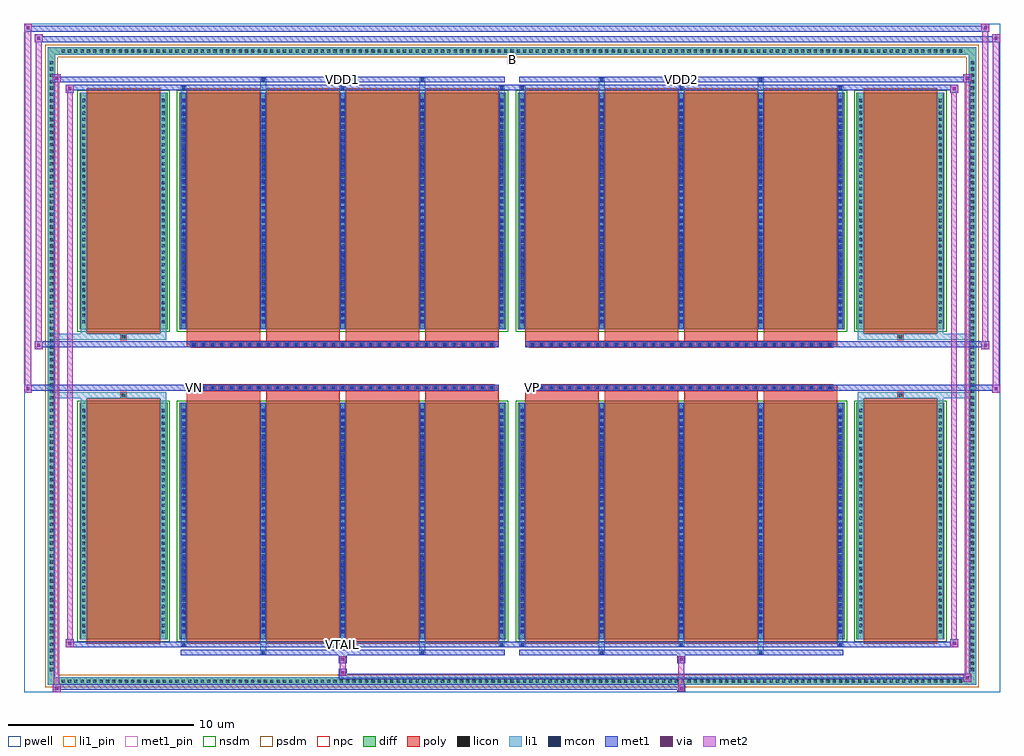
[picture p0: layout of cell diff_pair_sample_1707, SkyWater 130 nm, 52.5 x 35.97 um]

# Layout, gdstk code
import gdstk
lib = gdstk.Library(unit=1e-6, precision=5e-09)
def R(c, l, rs):  # rectangles x0, y0, x1, y1
    for r in rs: c.add(gdstk.rectangle(r[:2], r[2:], *l))
def A(c, l, x, y, w, h, nx, ny, dx, dy):  # array of equal rectangles
    R(c, l, [(x+i*dx, y+j*dy, x+i*dx+w, y+j*dy+h) for i in range(nx) for j in range(ny)])
def P(c, l, *ps):  # polygons
    for p in ps: c.add(gdstk.Polygon(p, *l))
pwell = (64, 44)
diff = (65, 20)
poly = (66, 20)
licon = (66, 44)
li1_pin = (67, 16)
li1 = (67, 20)
mcon = (67, 44)
met1_pin = (68, 16)
met1 = (68, 20)
via = (68, 44)
met2 = (69, 20)
nsdm = (93, 44)
psdm = (94, 20)
npc = (95, 20)

diff_pair_sample_1707 = lib.new_cell('diff_pair_sample_1707')
R(diff_pair_sample_1707, pwell, [(-26.25,-17.55,26.25,18.42), (-23.57,-15.74,-0.01,-0.8), (0.01,-15.74,23.57,-0.8), (-23.57,0.8,-0.01,15.74), (0.01,0.8,23.57,15.74)])
A(diff_pair_sample_1707, diff, -24.345, -17.15, 0.41, 0.41, 143, 2, 0.34, 33.89)
A(diff_pair_sample_1707, diff, -24.98, -16.525, 0.41, 0.41, 1, 97, 0, 0.34)
A(diff_pair_sample_1707, diff, 24.57, -16.525, 0.41, 0.41, 1, 97, 0, 0.34)
R(diff_pair_sample_1707, diff, [(-24.345,-17.15,24.345,-16.74), (-24.98,-16.525,-24.57,16.525), (24.57,-16.525,24.98,16.525), (-23.26,-14.695,-18.53,-1.985), (-17.89,-14.695,-0.32,-1.985), (0.32,-14.695,17.89,-1.985), (18.53,-14.695,23.26,-1.985), (-23.26,1.985,-18.53,14.695), (-17.89,1.985,-0.32,14.695), (0.32,1.985,17.89,14.695), (18.53,1.985,23.26,14.695), (-24.345,16.74,24.345,17.15)])
P(diff_pair_sample_1707, diff, [(24.98,17.15),(-24.98,17.15),(-24.98,-16.74),(-24.57,-16.74),(-24.57,16.74),(24.57,16.74),(24.57,-16.74),(-24.57,-16.74),(-24.98,-16.74),(-24.98,-17.15),(24.98,-17.15)])
A(diff_pair_sample_1707, poly, -17.5, -14.945, 3.95, 13.21, 4, 2, 4.28, 16.68)
A(diff_pair_sample_1707, poly, 0.71, -14.945, 3.95, 13.21, 4, 2, 4.28, 16.68)
A(diff_pair_sample_1707, poly, -17.5, -1.735, 3.95, 0.405, 4, 2, 4.28, 3.065)
A(diff_pair_sample_1707, poly, 0.71, -1.735, 3.95, 0.405, 4, 2, 4.28, 3.065)
A(diff_pair_sample_1707, poly, -17.27, -1.33, 0.33, 0.33, 33, 2, 0.5, 2.33)
A(diff_pair_sample_1707, poly, 0.94, -1.33, 0.33, 0.33, 33, 2, 0.5, 2.33)
R(diff_pair_sample_1707, poly, [(-22.87,-14.945,-18.92,-1.735), (18.92,-14.945,22.87,-1.735), (-21.06,-1.735,-20.73,-1.405), (-21.06,-1.735,-20.73,-1.405), (20.73,-1.735,21.06,-1.405), (20.73,-1.735,21.06,-1.405), (-17.5,-1.33,-0.71,-1), (0.71,-1.33,17.5,-1), (-17.5,1,-0.71,1.33), (0.71,1,17.5,1.33), (-21.06,1.405,-20.73,1.735), (-21.06,1.405,-20.73,1.735), (20.73,1.405,21.06,1.735), (20.73,1.405,21.06,1.735), (-22.87,1.735,-18.92,14.945), (18.92,1.735,22.87,14.945)])
A(diff_pair_sample_1707, licon, -24.225, -17.03, 0.17, 0.17, 143, 2, 0.34, 33.89)
A(diff_pair_sample_1707, licon, -24.86, -16.405, 0.17, 0.17, 1, 97, 0, 0.34)
A(diff_pair_sample_1707, licon, 24.69, -16.405, 0.17, 0.17, 1, 97, 0, 0.34)
A(diff_pair_sample_1707, licon, -23.12, -14.375, 0.17, 0.17, 1, 36, 0, 0.34)
A(diff_pair_sample_1707, licon, -18.84, -14.375, 0.17, 0.17, 1, 36, 0, 0.34)
A(diff_pair_sample_1707, licon, -17.75, -14.375, 0.17, 0.17, 5, 36, 4.28, 0.34)
A(diff_pair_sample_1707, licon, 0.46, -14.375, 0.17, 0.17, 5, 36, 4.28, 0.34)
A(diff_pair_sample_1707, licon, 18.67, -14.375, 0.17, 0.17, 1, 36, 0, 0.34)
A(diff_pair_sample_1707, licon, 22.95, -14.375, 0.17, 0.17, 1, 36, 0, 0.34)
A(diff_pair_sample_1707, licon, -17.19, -1.25, 0.17, 0.17, 33, 2, 0.5, 2.33)
A(diff_pair_sample_1707, licon, 1.02, -1.25, 0.17, 0.17, 33, 2, 0.5, 2.33)
A(diff_pair_sample_1707, licon, -23.12, 2.305, 0.17, 0.17, 1, 36, 0, 0.34)
A(diff_pair_sample_1707, licon, -18.84, 2.305, 0.17, 0.17, 1, 36, 0, 0.34)
A(diff_pair_sample_1707, licon, -17.75, 2.305, 0.17, 0.17, 5, 36, 4.28, 0.34)
A(diff_pair_sample_1707, licon, 0.46, 2.305, 0.17, 0.17, 5, 36, 4.28, 0.34)
A(diff_pair_sample_1707, licon, 18.67, 2.305, 0.17, 0.17, 1, 36, 0, 0.34)
A(diff_pair_sample_1707, licon, 22.95, 2.305, 0.17, 0.17, 1, 36, 0, 0.34)
R(diff_pair_sample_1707, licon, [(-20.98,-1.655,-20.81,-1.485), (20.81,-1.655,20.98,-1.485), (-20.98,1.485,-20.81,1.655), (20.81,1.485,20.98,1.655)])
R(diff_pair_sample_1707, li1_pin, [(-0.25,16.24,0.25,16.74)])
A(diff_pair_sample_1707, li1, -24.305, -17.11, 0.33, 0.33, 143, 2, 0.34, 33.89)
A(diff_pair_sample_1707, li1, -24.94, -16.485, 0.33, 0.33, 1, 97, 0, 0.34)
A(diff_pair_sample_1707, li1, 24.61, -16.485, 0.33, 0.33, 1, 97, 0, 0.34)
A(diff_pair_sample_1707, li1, -17.83, -15.07, 0.33, 0.375, 3, 2, 8.56, 29.765)
A(diff_pair_sample_1707, li1, -17.75, -15.07, 0.17, 0.17, 3, 2, 8.56, 29.97)
A(diff_pair_sample_1707, li1, 0.38, -15.07, 0.33, 0.375, 3, 2, 8.56, 29.765)
A(diff_pair_sample_1707, li1, 0.46, -15.07, 0.17, 0.17, 3, 2, 8.56, 29.97)
A(diff_pair_sample_1707, li1, -17.83, -14.695, 0.33, 12.71, 5, 2, 4.28, 16.68)
A(diff_pair_sample_1707, li1, 0.38, -14.695, 0.33, 12.71, 5, 2, 4.28, 16.68)
A(diff_pair_sample_1707, li1, -23.2, -14.455, 0.33, 0.33, 1, 36, 0, 0.34)
A(diff_pair_sample_1707, li1, -18.92, -14.455, 0.33, 0.33, 1, 36, 0, 0.34)
A(diff_pair_sample_1707, li1, -17.83, -14.455, 0.33, 0.33, 5, 36, 4.28, 0.34)
A(diff_pair_sample_1707, li1, 0.38, -14.455, 0.33, 0.33, 5, 36, 4.28, 0.34)
A(diff_pair_sample_1707, li1, 18.59, -14.455, 0.33, 0.33, 1, 36, 0, 0.34)
A(diff_pair_sample_1707, li1, 22.87, -14.455, 0.33, 0.33, 1, 36, 0, 0.34)
A(diff_pair_sample_1707, li1, -17.75, -14.365, 0.17, 0.17, 5, 34, 4.28, 0.36)
A(diff_pair_sample_1707, li1, -17.75, -14.365, 0.17, 12.05, 5, 2, 4.28, 16.68)
A(diff_pair_sample_1707, li1, 0.46, -14.365, 0.17, 0.17, 5, 34, 4.28, 0.36)
A(diff_pair_sample_1707, li1, 0.46, -14.365, 0.17, 12.05, 5, 2, 4.28, 16.68)
A(diff_pair_sample_1707, li1, -17.27, -1.33, 0.33, 0.33, 33, 2, 0.5, 2.33)
A(diff_pair_sample_1707, li1, 0.94, -1.33, 0.33, 0.33, 33, 2, 0.5, 2.33)
A(diff_pair_sample_1707, li1, -23.2, 2.225, 0.33, 0.33, 1, 36, 0, 0.34)
A(diff_pair_sample_1707, li1, -18.92, 2.225, 0.33, 0.33, 1, 36, 0, 0.34)
A(diff_pair_sample_1707, li1, -17.83, 2.225, 0.33, 0.33, 5, 36, 4.28, 0.34)
A(diff_pair_sample_1707, li1, 0.38, 2.225, 0.33, 0.33, 5, 36, 4.28, 0.34)
A(diff_pair_sample_1707, li1, 18.59, 2.225, 0.33, 0.33, 1, 36, 0, 0.34)
A(diff_pair_sample_1707, li1, 22.87, 2.225, 0.33, 0.33, 1, 36, 0, 0.34)
A(diff_pair_sample_1707, li1, -17.75, 2.315, 0.17, 0.17, 5, 34, 4.28, 0.36)
A(diff_pair_sample_1707, li1, 0.46, 2.315, 0.17, 0.17, 5, 34, 4.28, 0.36)
R(diff_pair_sample_1707, li1, [(-24.98,-17.15,-24.57,-16.74), (-24.98,-17.15,-24.57,-16.74), (-24.57,-17.15,24.57,-16.74), (24.57,-17.15,24.98,-16.74), (24.57,-17.15,24.98,-16.74), (-24.98,-16.74,-24.57,16.74), (24.57,-16.74,24.98,16.74), (-13.55,-15.5,-13.22,-14.695), (-13.47,-15.5,-13.3,-15.33), (-4.99,-15.5,-4.66,-14.695), (-4.91,-15.5,-4.74,-15.33), (4.66,-15.5,4.99,-14.695), (4.74,-15.5,4.91,-15.33), (13.22,-15.5,13.55,-14.695), (13.3,-15.5,13.47,-15.33), (-23.2,-14.695,-22.87,-1.985), (-18.92,-14.695,-18.59,-1.985), (18.59,-14.695,18.92,-1.985), (22.87,-14.695,23.2,-1.985), (-23.2,-1.985,-22.87,-1.405), (-18.92,-1.985,-18.59,-1.405), (18.59,-1.985,18.92,-1.405), (22.87,-1.985,23.2,-1.405), (-24.98,-1.735,-21.06,-1.405), (-23.2,-1.735,-21.06,-1.405), (-21.06,-1.735,-20.73,-1.405), (-20.73,-1.735,-18.59,-1.405), (18.59,-1.735,20.73,-1.405), (20.73,-1.735,21.06,-1.405), (20.73,-1.735,24.98,-1.405), (21.06,-1.735,23.2,-1.405), (-24.98,1.405,-21.06,1.735), (-23.2,1.405,-21.06,1.735), (-23.2,1.405,-22.87,1.985), (-21.06,1.405,-20.73,1.735), (-20.73,1.405,-18.59,1.735), (-18.92,1.405,-18.59,1.985), (18.59,1.405,20.73,1.735), (18.59,1.405,18.92,1.985), (20.73,1.405,21.06,1.735), (20.73,1.405,24.98,1.735), (21.06,1.405,23.2,1.735), (22.87,1.405,23.2,1.985), (-23.2,1.985,-22.87,14.695), (-18.92,1.985,-18.59,14.695), (18.59,1.985,18.92,14.695), (22.87,1.985,23.2,14.695), (-13.55,14.695,-13.22,15.5), (-4.99,14.695,-4.66,15.5), (4.66,14.695,4.99,15.5), (13.22,14.695,13.55,15.5), (-13.47,15.33,-13.3,15.5), (-4.91,15.33,-4.74,15.5), (4.74,15.33,4.91,15.5), (13.3,15.33,13.47,15.5), (-24.98,16.74,-24.57,17.15), (-24.98,16.74,-24.57,17.15), (-24.57,16.74,24.57,17.15), (24.57,16.74,24.98,17.15), (24.57,16.74,24.98,17.15)])
A(diff_pair_sample_1707, mcon, -17.75, -15.07, 0.17, 0.17, 3, 2, 8.56, 29.97)
A(diff_pair_sample_1707, mcon, 0.46, -15.07, 0.17, 0.17, 3, 2, 8.56, 29.97)
A(diff_pair_sample_1707, mcon, -17.75, -14.365, 0.17, 0.17, 5, 34, 4.28, 0.36)
A(diff_pair_sample_1707, mcon, 0.46, -14.365, 0.17, 0.17, 5, 34, 4.28, 0.36)
A(diff_pair_sample_1707, mcon, -17.19, -1.25, 0.17, 0.17, 33, 2, 0.5, 2.33)
A(diff_pair_sample_1707, mcon, 1.02, -1.25, 0.17, 0.17, 33, 2, 0.5, 2.33)
A(diff_pair_sample_1707, mcon, -17.75, 2.315, 0.17, 0.17, 5, 34, 4.28, 0.36)
A(diff_pair_sample_1707, mcon, 0.46, 2.315, 0.17, 0.17, 5, 34, 4.28, 0.36)
R(diff_pair_sample_1707, mcon, [(-13.47,-15.5,-13.3,-15.33), (-4.91,-15.5,-4.74,-15.33), (4.74,-15.5,4.91,-15.33), (13.3,-15.5,13.47,-15.33), (-13.47,15.33,-13.3,15.5), (-4.91,15.33,-4.74,15.5), (4.74,15.33,4.91,15.5), (13.3,15.33,13.47,15.5)])
R(diff_pair_sample_1707, met1_pin, [(-9.24,-15.11,-8.97,-14.84), (-17.24,-1.29,-16.97,-1.02), (0.97,-1.29,1.24,-1.02), (-9.24,15.29,-8.97,15.56), (8.97,15.29,9.24,15.56)])
A(diff_pair_sample_1707, met1, -17.81, -15.13, 0.29, 0.29, 3, 2, 8.56, 29.97)
A(diff_pair_sample_1707, met1, 0.4, -15.13, 0.29, 0.29, 3, 2, 8.56, 29.97)
A(diff_pair_sample_1707, met1, -17.81, -14.695, 0.29, 12.71, 5, 2, 4.28, 16.68)
A(diff_pair_sample_1707, met1, 0.4, -14.695, 0.29, 12.71, 5, 2, 4.28, 16.68)
A(diff_pair_sample_1707, met1, -17.81, -14.425, 0.29, 0.29, 5, 34, 4.28, 0.36)
A(diff_pair_sample_1707, met1, 0.4, -14.425, 0.29, 0.29, 5, 34, 4.28, 0.36)
A(diff_pair_sample_1707, met1, -17.25, -1.31, 0.29, 0.29, 33, 2, 0.5, 2.33)
A(diff_pair_sample_1707, met1, 0.96, -1.31, 0.29, 0.29, 33, 2, 0.5, 2.33)
A(diff_pair_sample_1707, met1, -17.81, 2.255, 0.29, 0.29, 5, 34, 4.28, 0.36)
A(diff_pair_sample_1707, met1, 0.4, 2.255, 0.29, 0.29, 5, 34, 4.28, 0.36)
R(diff_pair_sample_1707, met1, [(-24.71,-17.55,-24.28,-17.12), (8.89,-17.55,9.32,-17.12), (-24.71,-17.41,9.32,-17.12), (24.28,-16.98,24.71,-16.55), (-9.32,-16.84,24.71,-16.55), (-9.32,-16.7,-8.89,-16.27), (-9.32,-15.99,-8.89,-15.56), (8.89,-15.99,9.32,-15.56), (-17.81,-15.56,-0.4,-15.27), (-13.53,-15.56,-13.24,-15.27), (-4.97,-15.56,-4.68,-15.27), (0.4,-15.56,17.81,-15.27), (4.68,-15.56,4.97,-15.27), (13.24,-15.56,13.53,-15.27), (-24,-15.13,-23.57,-14.7), (-24,-15.13,-17.81,-14.84), (-17.81,-15.13,-0.4,-14.84), (-0.4,-15.13,0.4,-14.84), (0.4,-15.13,17.81,-14.84), (17.81,-15.13,24,-14.84), (23.57,-15.13,24,-14.7), (-26.25,-1.43,-25.82,-1), (25.82,-1.43,26.25,-1), (-26.25,-1.33,-0.71,-1), (-17.5,-1.33,-0.71,-1), (0.71,-1.33,17.5,-1), (0.71,-1.33,26.25,-1), (-25.68,0.9,-25.25,1.33), (25.25,0.9,25.68,1.33), (-25.68,1,-17.5,1.33), (-17.5,1,-0.71,1.33), (0.71,1,17.5,1.33), (17.5,1,25.68,1.33), (-24,14.7,-23.57,15.13), (23.57,14.7,24,15.13), (-24,14.84,-17.81,15.13), (-17.81,14.84,-0.4,15.13), (-0.4,14.84,0.4,15.13), (0.4,14.84,17.81,15.13), (17.81,14.84,24,15.13), (-24.71,15.27,-24.28,15.7), (-24.71,15.27,-17.81,15.56), (-17.81,15.27,-0.4,15.56), (-13.53,15.27,-13.24,15.56), (-4.97,15.27,-4.68,15.56), (0.4,15.27,17.81,15.56), (4.68,15.27,4.97,15.56), (13.24,15.27,13.53,15.56), (17.81,15.27,24.71,15.56), (24.28,15.27,24.71,15.7), (-25.68,17.42,-25.25,17.85), (-25.68,17.42,-23.57,17.75), (-23.57,17.42,23.57,17.75), (23.57,17.42,26.25,17.75), (25.82,17.42,26.25,17.85), (-26.25,17.99,-25.82,18.42), (-26.25,17.99,-23.57,18.32), (-23.57,17.99,23.57,18.32), (23.57,17.99,25.68,18.32), (25.25,17.99,25.68,18.42)])
R(diff_pair_sample_1707, via, [(-24.57,-17.41,-24.42,-17.26), (9.03,-17.41,9.18,-17.26), (24.42,-16.84,24.57,-16.69), (-9.18,-16.56,-9.03,-16.41), (-9.18,-15.85,-9.03,-15.7), (9.03,-15.85,9.18,-15.7), (-23.86,-14.99,-23.71,-14.84), (23.71,-14.99,23.86,-14.84), (-26.11,-1.29,-25.96,-1.14), (25.96,-1.29,26.11,-1.14), (-25.54,1.04,-25.39,1.19), (25.39,1.04,25.54,1.19), (-23.86,14.84,-23.71,14.99), (23.71,14.84,23.86,14.99), (-24.57,15.41,-24.42,15.56), (24.42,15.41,24.57,15.56), (-25.54,17.56,-25.39,17.71), (25.96,17.56,26.11,17.71), (-26.11,18.13,-25.96,18.28), (25.39,18.13,25.54,18.28)])
R(diff_pair_sample_1707, met2, [(-24.71,-17.55,-24.28,-17.12), (-24.64,-17.55,-24.35,15.7), (-24.35,-17.55,-24.28,-17.12), (-24.66,-17.5,-24.33,-17.17), (8.94,-17.5,9.27,-17.17), (8.94,-17.17,9.27,-15.94), (24.28,-16.98,24.71,-16.55), (24.35,-16.98,24.64,15.7), (24.64,-16.98,24.71,-16.55), (24.33,-16.93,24.66,-16.6), (-9.27,-16.65,-8.94,-16.32), (-9.27,-16.32,-8.94,-15.94), (-9.27,-15.94,-8.94,-15.61), (8.94,-15.94,9.27,-15.61), (-24,-15.13,-23.57,-14.7), (-23.93,-15.13,-23.64,15.13), (-23.64,-15.13,-23.57,-14.7), (23.57,-15.13,24,-14.7), (23.64,-15.13,23.93,15.13), (23.93,-15.13,24,-14.7), (-23.95,-15.08,-23.62,-14.75), (23.62,-15.08,23.95,-14.75), (-26.25,-1.43,-25.82,-1), (-26.2,-1.43,-25.87,18.42), (-25.87,-1.43,-25.82,-1), (25.82,-1.43,26.25,-1), (25.87,-1.43,26.2,17.85), (26.2,-1.43,26.25,-1), (-26.2,-1.38,-25.87,-1.05), (25.87,-1.38,26.2,-1.05), (-25.68,0.9,-25.25,1.33), (-25.63,0.9,-25.3,17.85), (-25.3,0.9,-25.25,1.33), (25.25,0.9,25.68,1.33), (25.3,0.9,25.63,18.42), (25.63,0.9,25.68,1.33), (-25.63,0.95,-25.3,1.28), (25.3,0.95,25.63,1.28), (-24,14.7,-23.57,15.13), (-23.64,14.7,-23.57,15.13), (23.57,14.7,24,15.13), (23.93,14.7,24,15.13), (-23.95,14.75,-23.62,15.08), (23.62,14.75,23.95,15.08), (-24.71,15.27,-24.28,15.7), (-24.35,15.27,-24.28,15.7), (24.28,15.27,24.71,15.7), (24.64,15.27,24.71,15.7), (-24.66,15.32,-24.33,15.65), (24.33,15.32,24.66,15.65), (-25.68,17.42,-25.25,17.85), (-25.3,17.42,-25.25,17.85), (25.82,17.42,26.25,17.85), (26.2,17.42,26.25,17.85), (-25.63,17.47,-25.3,17.8), (25.87,17.47,26.2,17.8), (-26.25,17.99,-25.82,18.42), (-25.87,17.99,-25.82,18.42), (25.25,17.99,25.68,18.42), (25.63,17.99,25.68,18.42), (-26.2,18.04,-25.87,18.37), (25.3,18.04,25.63,18.37)])
R(diff_pair_sample_1707, nsdm, [(-23.39,-14.825,-18.4,-1.855), (-18.02,-14.825,-0.19,-1.855), (0.19,-14.825,18.02,-1.855), (18.4,-14.825,23.39,-1.855), (-23.39,1.855,-18.4,14.825), (-18.02,1.855,-0.19,14.825), (0.19,1.855,18.02,14.825), (18.4,1.855,23.39,14.825)])
P(diff_pair_sample_1707, psdm, [(25.11,17.28),(-25.11,17.28),(-25.11,-16.61),(-24.44,-16.61),(-24.44,16.61),(24.44,16.61),(24.44,-16.61),(-24.44,-16.61),(-25.11,-16.61),(-25.11,-17.28),(25.11,-17.28)])
A(diff_pair_sample_1707, npc, -17.29, -1.35, 0.37, 0.37, 33, 2, 0.5, 2.33)
A(diff_pair_sample_1707, npc, 0.92, -1.35, 0.37, 0.37, 33, 2, 0.5, 2.33)
R(diff_pair_sample_1707, npc, [(-21.08,-1.755,-20.71,-1.385), (20.71,-1.755,21.08,-1.385), (-17.29,-1.35,-16.42,-0.98), (-17.29,-1.35,-16.42,-0.98), (-16.79,-1.35,-15.92,-0.98), (-16.79,-1.35,-15.92,-0.98), (-16.29,-1.35,-15.42,-0.98), (-16.29,-1.35,-15.42,-0.98), (-15.79,-1.35,-14.92,-0.98), (-15.79,-1.35,-14.92,-0.98), (-15.29,-1.35,-14.42,-0.98), (-15.29,-1.35,-14.42,-0.98), (-14.79,-1.35,-13.92,-0.98), (-14.79,-1.35,-13.92,-0.98), (-14.29,-1.35,-13.42,-0.98), (-14.29,-1.35,-13.42,-0.98), (-13.79,-1.35,-12.92,-0.98), (-13.79,-1.35,-12.92,-0.98), (-13.29,-1.35,-12.42,-0.98), (-13.29,-1.35,-12.42,-0.98), (-12.79,-1.35,-11.92,-0.98), (-12.79,-1.35,-11.92,-0.98), (-12.29,-1.35,-11.42,-0.98), (-12.29,-1.35,-11.42,-0.98), (-11.79,-1.35,-10.92,-0.98), (-11.79,-1.35,-10.92,-0.98), (-11.29,-1.35,-10.42,-0.98), (-11.29,-1.35,-10.42,-0.98), (-10.79,-1.35,-9.92,-0.98), (-10.79,-1.35,-9.92,-0.98), (-10.29,-1.35,-9.42,-0.98), (-10.29,-1.35,-9.42,-0.98), (-9.79,-1.35,-8.92,-0.98), (-9.79,-1.35,-8.92,-0.98), (-9.29,-1.35,-8.42,-0.98), (-9.29,-1.35,-8.42,-0.98), (-8.79,-1.35,-7.92,-0.98), (-8.79,-1.35,-7.92,-0.98), (-8.29,-1.35,-7.42,-0.98), (-8.29,-1.35,-7.42,-0.98), (-7.79,-1.35,-6.92,-0.98), (-7.79,-1.35,-6.92,-0.98), (-7.29,-1.35,-6.42,-0.98), (-7.29,-1.35,-6.42,-0.98), (-6.79,-1.35,-5.92,-0.98), (-6.79,-1.35,-5.92,-0.98), (-6.29,-1.35,-5.42,-0.98), (-6.29,-1.35,-5.42,-0.98), (-5.79,-1.35,-4.92,-0.98), (-5.79,-1.35,-4.92,-0.98), (-5.29,-1.35,-4.42,-0.98), (-5.29,-1.35,-4.42,-0.98), (-4.79,-1.35,-3.92,-0.98), (-4.79,-1.35,-3.92,-0.98), (-4.29,-1.35,-3.42,-0.98), (-4.29,-1.35,-3.42,-0.98), (-3.79,-1.35,-2.92,-0.98), (-3.79,-1.35,-2.92,-0.98), (-3.29,-1.35,-2.42,-0.98), (-3.29,-1.35,-2.42,-0.98), (-2.79,-1.35,-1.92,-0.98), (-2.79,-1.35,-1.92,-0.98), (-2.29,-1.35,-1.42,-0.98), (-2.29,-1.35,-1.42,-0.98), (-1.79,-1.35,-0.92,-0.98), (-1.79,-1.35,-0.92,-0.98), (0.92,-1.35,1.79,-0.98), (0.92,-1.35,1.79,-0.98), (1.42,-1.35,2.29,-0.98), (1.42,-1.35,2.29,-0.98), (1.92,-1.35,2.79,-0.98), (1.92,-1.35,2.79,-0.98), (2.42,-1.35,3.29,-0.98), (2.42,-1.35,3.29,-0.98), (2.92,-1.35,3.79,-0.98), (2.92,-1.35,3.79,-0.98), (3.42,-1.35,4.29,-0.98), (3.42,-1.35,4.29,-0.98), (3.92,-1.35,4.79,-0.98), (3.92,-1.35,4.79,-0.98), (4.42,-1.35,5.29,-0.98), (4.42,-1.35,5.29,-0.98), (4.92,-1.35,5.79,-0.98), (4.92,-1.35,5.79,-0.98), (5.42,-1.35,6.29,-0.98), (5.42,-1.35,6.29,-0.98), (5.92,-1.35,6.79,-0.98), (5.92,-1.35,6.79,-0.98), (6.42,-1.35,7.29,-0.98), (6.42,-1.35,7.29,-0.98), (6.92,-1.35,7.79,-0.98), (6.92,-1.35,7.79,-0.98), (7.42,-1.35,8.29,-0.98), (7.42,-1.35,8.29,-0.98), (7.92,-1.35,8.79,-0.98), (7.92,-1.35,8.79,-0.98), (8.42,-1.35,9.29,-0.98), (8.42,-1.35,9.29,-0.98), (8.92,-1.35,9.79,-0.98), (8.92,-1.35,9.79,-0.98), (9.42,-1.35,10.29,-0.98), (9.42,-1.35,10.29,-0.98), (9.92,-1.35,10.79,-0.98), (9.92,-1.35,10.79,-0.98), (10.42,-1.35,11.29,-0.98), (10.42,-1.35,11.29,-0.98), (10.92,-1.35,11.79,-0.98), (10.92,-1.35,11.79,-0.98), (11.42,-1.35,12.29,-0.98), (11.42,-1.35,12.29,-0.98), (11.92,-1.35,12.79,-0.98), (11.92,-1.35,12.79,-0.98), (12.42,-1.35,13.29,-0.98), (12.42,-1.35,13.29,-0.98), (12.92,-1.35,13.79,-0.98), (12.92,-1.35,13.79,-0.98), (13.42,-1.35,14.29,-0.98), (13.42,-1.35,14.29,-0.98), (13.92,-1.35,14.79,-0.98), (13.92,-1.35,14.79,-0.98), (14.42,-1.35,15.29,-0.98), (14.42,-1.35,15.29,-0.98), (14.92,-1.35,15.79,-0.98), (14.92,-1.35,15.79,-0.98), (15.42,-1.35,16.29,-0.98), (15.42,-1.35,16.29,-0.98), (15.92,-1.35,16.79,-0.98), (15.92,-1.35,16.79,-0.98), (16.42,-1.35,17.29,-0.98), (16.42,-1.35,17.29,-0.98), (-17.29,0.98,-16.42,1.35), (-17.29,0.98,-16.42,1.35), (-16.79,0.98,-15.92,1.35), (-16.79,0.98,-15.92,1.35), (-16.29,0.98,-15.42,1.35), (-16.29,0.98,-15.42,1.35), (-15.79,0.98,-14.92,1.35), (-15.79,0.98,-14.92,1.35), (-15.29,0.98,-14.42,1.35), (-15.29,0.98,-14.42,1.35), (-14.79,0.98,-13.92,1.35), (-14.79,0.98,-13.92,1.35), (-14.29,0.98,-13.42,1.35), (-14.29,0.98,-13.42,1.35), (-13.79,0.98,-12.92,1.35), (-13.79,0.98,-12.92,1.35), (-13.29,0.98,-12.42,1.35), (-13.29,0.98,-12.42,1.35), (-12.79,0.98,-11.92,1.35), (-12.79,0.98,-11.92,1.35), (-12.29,0.98,-11.42,1.35), (-12.29,0.98,-11.42,1.35), (-11.79,0.98,-10.92,1.35), (-11.79,0.98,-10.92,1.35), (-11.29,0.98,-10.42,1.35), (-11.29,0.98,-10.42,1.35), (-10.79,0.98,-9.92,1.35), (-10.79,0.98,-9.92,1.35), (-10.29,0.98,-9.42,1.35), (-10.29,0.98,-9.42,1.35), (-9.79,0.98,-8.92,1.35), (-9.79,0.98,-8.92,1.35), (-9.29,0.98,-8.42,1.35), (-9.29,0.98,-8.42,1.35), (-8.79,0.98,-7.92,1.35), (-8.79,0.98,-7.92,1.35), (-8.29,0.98,-7.42,1.35), (-8.29,0.98,-7.42,1.35), (-7.79,0.98,-6.92,1.35), (-7.79,0.98,-6.92,1.35), (-7.29,0.98,-6.42,1.35), (-7.29,0.98,-6.42,1.35), (-6.79,0.98,-5.92,1.35), (-6.79,0.98,-5.92,1.35), (-6.29,0.98,-5.42,1.35), (-6.29,0.98,-5.42,1.35), (-5.79,0.98,-4.92,1.35), (-5.79,0.98,-4.92,1.35), (-5.29,0.98,-4.42,1.35), (-5.29,0.98,-4.42,1.35), (-4.79,0.98,-3.92,1.35), (-4.79,0.98,-3.92,1.35), (-4.29,0.98,-3.42,1.35), (-4.29,0.98,-3.42,1.35), (-3.79,0.98,-2.92,1.35), (-3.79,0.98,-2.92,1.35), (-3.29,0.98,-2.42,1.35), (-3.29,0.98,-2.42,1.35), (-2.79,0.98,-1.92,1.35), (-2.79,0.98,-1.92,1.35), (-2.29,0.98,-1.42,1.35), (-2.29,0.98,-1.42,1.35), (-1.79,0.98,-0.92,1.35), (-1.79,0.98,-0.92,1.35), (0.92,0.98,1.79,1.35), (0.92,0.98,1.79,1.35), (1.42,0.98,2.29,1.35), (1.42,0.98,2.29,1.35), (1.92,0.98,2.79,1.35), (1.92,0.98,2.79,1.35), (2.42,0.98,3.29,1.35), (2.42,0.98,3.29,1.35), (2.92,0.98,3.79,1.35), (2.92,0.98,3.79,1.35), (3.42,0.98,4.29,1.35), (3.42,0.98,4.29,1.35), (3.92,0.98,4.79,1.35), (3.92,0.98,4.79,1.35), (4.42,0.98,5.29,1.35), (4.42,0.98,5.29,1.35), (4.92,0.98,5.79,1.35), (4.92,0.98,5.79,1.35), (5.42,0.98,6.29,1.35), (5.42,0.98,6.29,1.35), (5.92,0.98,6.79,1.35), (5.92,0.98,6.79,1.35), (6.42,0.98,7.29,1.35), (6.42,0.98,7.29,1.35), (6.92,0.98,7.79,1.35), (6.92,0.98,7.79,1.35), (7.42,0.98,8.29,1.35), (7.42,0.98,8.29,1.35), (7.92,0.98,8.79,1.35), (7.92,0.98,8.79,1.35), (8.42,0.98,9.29,1.35), (8.42,0.98,9.29,1.35), (8.92,0.98,9.79,1.35), (8.92,0.98,9.79,1.35), (9.42,0.98,10.29,1.35), (9.42,0.98,10.29,1.35), (9.92,0.98,10.79,1.35), (9.92,0.98,10.79,1.35), (10.42,0.98,11.29,1.35), (10.42,0.98,11.29,1.35), (10.92,0.98,11.79,1.35), (10.92,0.98,11.79,1.35), (11.42,0.98,12.29,1.35), (11.42,0.98,12.29,1.35), (11.92,0.98,12.79,1.35), (11.92,0.98,12.79,1.35), (12.42,0.98,13.29,1.35), (12.42,0.98,13.29,1.35), (12.92,0.98,13.79,1.35), (12.92,0.98,13.79,1.35), (13.42,0.98,14.29,1.35), (13.42,0.98,14.29,1.35), (13.92,0.98,14.79,1.35), (13.92,0.98,14.79,1.35), (14.42,0.98,15.29,1.35), (14.42,0.98,15.29,1.35), (14.92,0.98,15.79,1.35), (14.92,0.98,15.79,1.35), (15.42,0.98,16.29,1.35), (15.42,0.98,16.29,1.35), (15.92,0.98,16.79,1.35), (15.92,0.98,16.79,1.35), (16.42,0.98,17.29,1.35), (16.42,0.98,17.29,1.35), (-21.08,1.385,-20.71,1.755), (20.71,1.385,21.08,1.755)])
diff_pair_sample_1707.add(gdstk.Label('VTAIL', (-9.105,-14.975), layer=68, texttype=5))
diff_pair_sample_1707.add(gdstk.Label('VN', (-17.105,-1.155), layer=68, texttype=5))
diff_pair_sample_1707.add(gdstk.Label('VP', (1.105,-1.155), layer=68, texttype=5))
diff_pair_sample_1707.add(gdstk.Label('B', (0,16.49), layer=67, texttype=5))
diff_pair_sample_1707.add(gdstk.Label('VDD2', (9.105,15.425), layer=68, texttype=5))
diff_pair_sample_1707.add(gdstk.Label('VDD1', (-9.105,15.425), layer=68, texttype=5))

lib.write_gds('diff_pair_sample_1707.gds')
